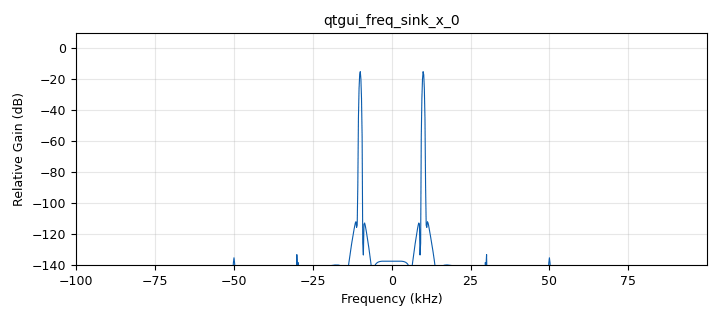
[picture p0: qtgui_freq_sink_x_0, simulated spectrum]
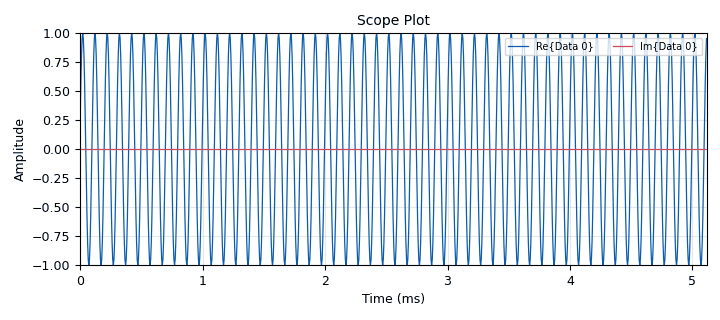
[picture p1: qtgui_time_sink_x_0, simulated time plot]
<?xml version='1.0' encoding='utf-8'?>
<?grc format='1' created='3.7.10'?>
<flow_graph>
<block>
<key>options</key>
<param><key>id</key><value>rtl_tx_sim</value></param>
<param><key>author</key><value>Nicholas Bruce</value></param>
<param><key>category</key><value>Custom</value></param>
<param><key>generate_options</key><value>qt_gui</value></param>
<param><key>title</key><value>RTLSDR TX Simulation</value></param>
</block>
<block>
<key>variable</key>
<param><key>id</key><value>fc</value></param>
<param><key>value</key><value>10000</value></param>
</block>
<block>
<key>variable_qtgui_chooser</key>
<param><key>id</key><value>q_amplitude</value></param>
<param><key>value</key><value>0</value></param>
<param><key>label0</key><value>0</value></param>
<param><key>label1</key><value>sin(2*pi*fc*t)</value></param>
<param><key>label2</key><value>-sin(2*pi*fc*t)</value></param>
<param><key>label</key><value>Q(t)</value></param>
<param><key>num_opts</key><value>3</value></param>
<param><key>option0</key><value>0</value></param>
<param><key>option1</key><value>1</value></param>
<param><key>option2</key><value>-1</value></param>
<param><key>orient</key><value>Qt.QHBoxLayout</value></param>
<param><key>type</key><value>int</value></param>
<param><key>widget</key><value>radio_buttons</value></param>
</block>
<block>
<key>variable</key>
<param><key>id</key><value>samp_rate</value></param>
<param><key>value</key><value>200e3</value></param>
</block>
<block>
<key>analog_sig_source_x</key>
<param><key>id</key><value>analog_sig_source_x_0</value></param>
<param><key>amp</key><value>1</value></param>
<param><key>freq</key><value>fc</value></param>
<param><key>offset</key><value>0</value></param>
<param><key>type</key><value>float</value></param>
<param><key>samp_rate</key><value>samp_rate</value></param>
<param><key>waveform</key><value>analog.GR_COS_WAVE</value></param>
</block>
<block>
<key>analog_sig_source_x</key>
<param><key>id</key><value>analog_sig_source_x_1</value></param>
<param><key>amp</key><value>q_amplitude</value></param>
<param><key>freq</key><value>fc</value></param>
<param><key>offset</key><value>0</value></param>
<param><key>type</key><value>float</value></param>
<param><key>samp_rate</key><value>samp_rate</value></param>
<param><key>waveform</key><value>analog.GR_SIN_WAVE</value></param>
</block>
<block>
<key>blocks_float_to_complex</key>
<param><key>id</key><value>blocks_float_to_complex_0</value></param>
</block>
<block>
<key>blocks_throttle</key>
<param><key>id</key><value>blocks_throttle_0</value></param>
<param><key>samples_per_second</key><value>samp_rate</value></param>
<param><key>type</key><value>complex</value></param>
</block>
<block>
<key>qtgui_freq_sink_x</key>
<param><key>id</key><value>qtgui_freq_sink_x_0</value></param>
<param><key>bw</key><value>samp_rate</value></param>
<param><key>fc</key><value>0</value></param>
<param><key>fftsize</key><value>1024</value></param>
<param><key>showports</key><value>True</value></param>
<param><key>type</key><value>complex</value></param>
<param><key>wintype</key><value>firdes.WIN_BLACKMAN_hARRIS</value></param>
</block>
<block>
<key>qtgui_time_sink_x</key>
<param><key>id</key><value>qtgui_time_sink_x_0</value></param>
<param><key>color1</key><value>"blue"</value></param>
<param><key>label1</key><value></value></param>
<param><key>color2</key><value>"red"</value></param>
<param><key>label2</key><value></value></param>
<param><key>name</key><value>"Scope Plot"</value></param>
<param><key>size</key><value>1024</value></param>
<param><key>srate</key><value>samp_rate</value></param>
<param><key>type</key><value>complex</value></param>
</block>
<connection><source_block_id>analog_sig_source_x_0</source_block_id><sink_block_id>blocks_float_to_complex_0</sink_block_id><source_key>0</source_key><sink_key>0</sink_key></connection>
<connection><source_block_id>analog_sig_source_x_1</source_block_id><sink_block_id>blocks_float_to_complex_0</sink_block_id><source_key>0</source_key><sink_key>1</sink_key></connection>
<connection><source_block_id>blocks_float_to_complex_0</source_block_id><sink_block_id>blocks_throttle_0</sink_block_id><source_key>0</source_key><sink_key>0</sink_key></connection>
<connection><source_block_id>blocks_throttle_0</source_block_id><sink_block_id>qtgui_freq_sink_x_0</sink_block_id><source_key>0</source_key><sink_key>0</sink_key></connection>
<connection><source_block_id>blocks_throttle_0</source_block_id><sink_block_id>qtgui_time_sink_x_0</sink_block_id><source_key>0</source_key><sink_key>0</sink_key></connection>
</flow_graph>
